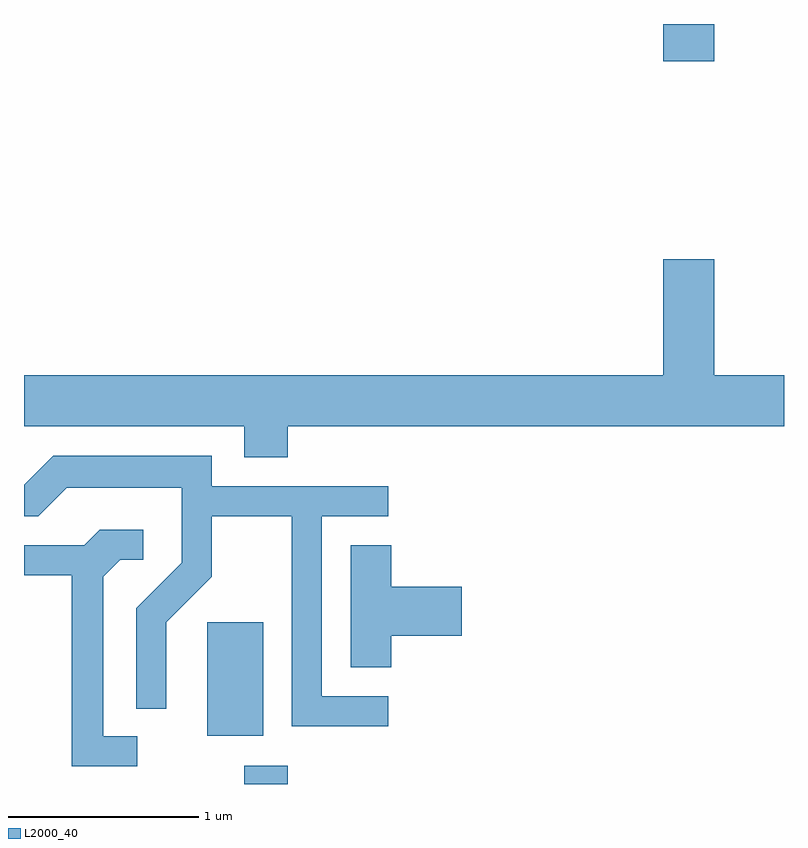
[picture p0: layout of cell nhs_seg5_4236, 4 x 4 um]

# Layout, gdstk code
import gdstk
lib = gdstk.Library(unit=1e-6, precision=1e-09)
def R(c, l, rs):  # rectangles x0, y0, x1, y1
    for r in rs: c.add(gdstk.rectangle(r[:2], r[2:], *l))
def P(c, l, *ps):  # polygons
    for p in ps: c.add(gdstk.Polygon(p, *l))
L2000_40 = (2000, 40)

nhs_seg5_4236 = lib.new_cell('nhs_seg5_4236')
R(nhs_seg5_4236, L2000_40, [(312.771,1406.072,312.999,1406.169), (312.576,1406.326,312.869,1406.924), (314.976,1409.876,315.244,1410.072)])
P(nhs_seg5_4236, L2000_40, [(312.999,1407.956),(315.611,1407.956),(315.611,1408.224),(315.244,1408.224),(315.244,1408.834),(314.976,1408.834),(314.976,1408.224),(311.611,1408.224),(311.611,1407.956),(312.771,1407.956),(312.771,1407.791),(312.999,1407.791)],
  [(313.528,1406.534),(313.179,1406.534),(313.179,1407.481),(313.528,1407.481),(313.528,1407.639),(312.599,1407.639),(312.599,1407.799),(311.764,1407.799),(311.611,1407.646),(311.611,1407.481),(311.687,1407.481),(311.837,1407.631),(312.441,1407.631),(312.441,1407.237),(312.201,1406.997),(312.201,1406.468),(312.359,1406.468),(312.359,1406.924),(312.599,1407.164),(312.599,1407.481),(313.021,1407.481),(313.021,1406.376),(313.528,1406.376)],
  [(312.208,1406.324),(312.029,1406.324),(312.029,1407.164),(312.117,1407.251),(312.238,1407.251),(312.238,1407.409),(312.009,1407.409),(311.929,1407.329),(311.611,1407.329),(311.611,1407.171),(311.861,1407.171),(311.861,1406.166),(312.208,1406.166)],
  [(313.544,1406.851),(313.914,1406.851),(313.914,1407.109),(313.544,1407.109),(313.544,1407.329),(313.331,1407.329),(313.331,1406.686),(313.544,1406.686)])

lib.write_gds('nhs_seg5_4236.gds')
